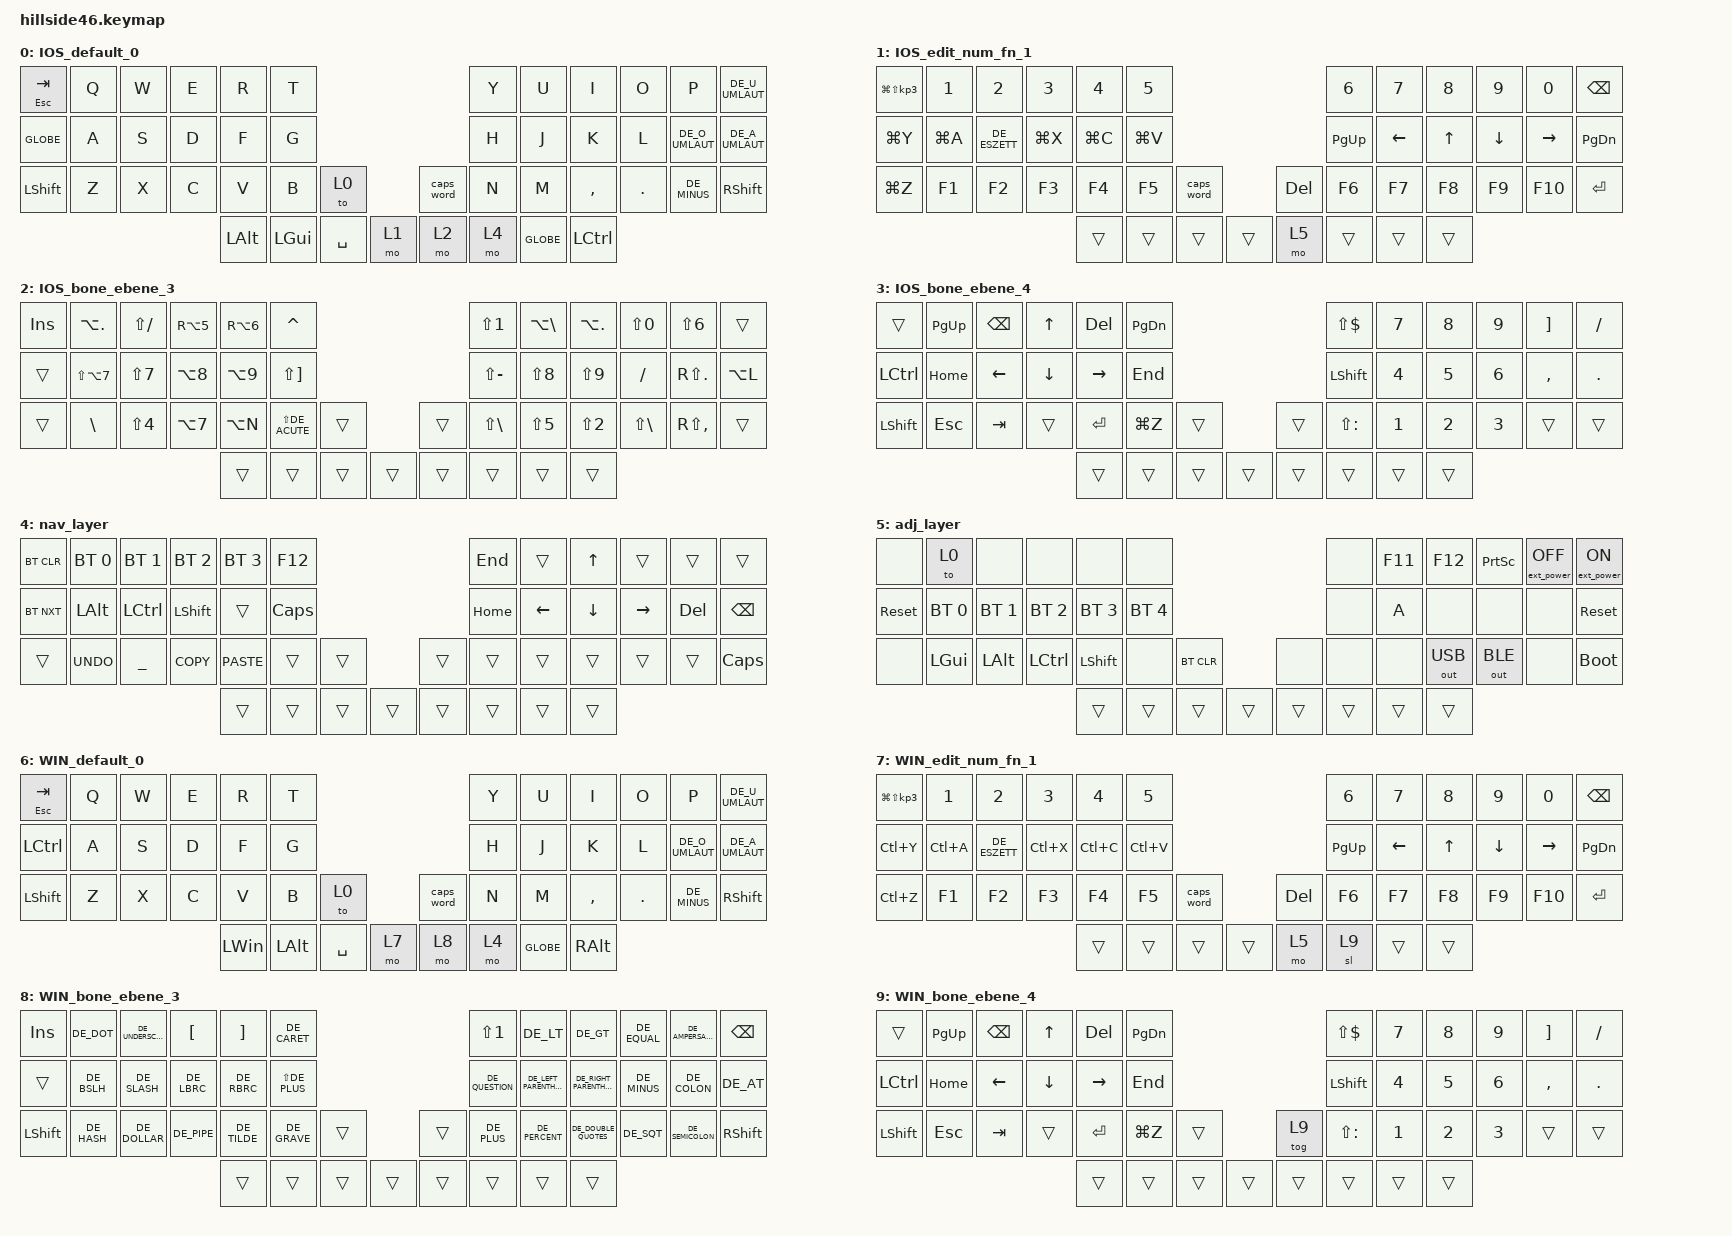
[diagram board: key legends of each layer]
/*
 * Copyright (c) 2021-2022 The ZMK Contributors
 *
 * SPDX-License-Identifier: MIT
 */

#include <behaviors.dtsi>
#include <dt-bindings/zmk/bt.h>
#include <dt-bindings/zmk/ext_power.h>
#include <dt-bindings/zmk/keys.h>
#include <dt-bindings/zmk/outputs.h>
#include "keys_de.h"

// layer shortcuts, must match order in which they are defined below

#define QWERTY_L 0
#define NAV_L    1
#define SYM_L    2
#define ADJ_L    3
#define HK 3
#define ADJ 4
#define Undo   LC(Z)
#define Redo   LC(Y)
#define Cut    LS(DEL)
#define Copy   LC(INS)
#define Paste  LS(INS)
#define XXX &none
#define ___ &trans

&mt { flavor = "balanced"; };

&sk { quick-release; };

&caps_word {
    // Allow caps word to continue even when minus, delete, left or underscore are pressed.

    continue-list = <UNDERSCORE MINUS BACKSPACE DELETE LEFT>;
};

/ {
    keymap {
        compatible = "zmk,keymap";

        IOS_default_0 {
            /* QWERTY
 * -------------------------------------------------------------------------------------------------------------------------------------
 * | `     |   Q   |   W   |   E   |   R   |   T   |-----------------------------------|   Y   |   U   |   I   |   O   |   P   | BKSPC |
 * | TAB   |   A   |   S   |   D   |   F   |   G   |-----------------------------------|   H   |   J   |   K   |   L   |   ;   | ENTER |
 * | CTRL  |   Z   |   X   |   C   |   V   |   B   |  ESC  |-------------------|  CAPS |   N   |   M   |   ,   |   .   |   /   |   '   |
 *                                 |  GUI  |  ALT  |SK SHFT|  Nav  |---|  Sym  | SPACE |  ALT  |  GUI  |
 */

            bindings = <
&mt ESC TAB  &kp Q  &kp W  &kp E  &kp R         &kp T                                                &kp Y      &kp U      &kp I      &kp O    &kp P            &kp DE_U_UMLAUT
&kp GLOBE    &kp A  &kp S  &kp D  &kp F         &kp G                                                &kp H      &kp J      &kp K      &kp L    &kp DE_O_UMLAUT  &kp DE_A_UMLAUT
&kp LSHFT    &kp Z  &kp X  &kp C  &kp V         &kp B         &to 0                      &caps_word  &kp N      &kp M      &kp COMMA  &kp DOT  &kp DE_MINUS     &kp RIGHT_SHIFT
                                  &kp LEFT_ALT  &kp LEFT_GUI  &kp SPACE  &mo 1    &mo 2  &mo 4       &kp GLOBE  &kp LCTRL
            >;
        };

        IOS_edit_num_fn_1 {
            bindings = <
&kp LG(LS(KP_NUMBER_3))  &kp N1     &kp N2         &kp N3     &kp N4     &kp N5                                              &kp N6       &kp N7          &kp N8        &kp N9    &kp N0           &kp BSPC
&kp LG(Y)                &kp LG(A)  &kp DE_ESZETT  &kp LG(X)  &kp LG(C)  &kp LG(V)                                           &kp PAGE_UP  &kp LEFT_ARROW  &kp UP_ARROW  &kp DOWN  &kp RIGHT_ARROW  &kp PAGE_DOWN
&kp LG(Z)                &kp F1     &kp F2         &kp F3     &kp F4     &kp F5     &caps_word                   &kp DELETE  &kp F6       &kp F7          &kp F8        &kp F9    &kp F10          &kp RET
                                                              &trans     &trans     &trans      &trans    &mo 5  &trans      &trans       &trans
            >;
        };

        IOS_bone_ebene_3 {
            /* SYM
 * -------------------------------------------------------------------------------------------------------------------------------------
 * | INS   |   !   |   @   |   #   |   $   |   %   |-----------------------------------|   ^   |   &   |   *   |   (   |   )   | BSPC  |
 * |       |   \   |   -   |   =   |   [   |   ]   |-----------------------------------| HOME  | Shift | Ctrl  | Alt   | Gui   | END   |
 * | Ctrl  |   |   |   _   |   +   |   {   |   }   |SkAltGr|-------------------| MENU  | Mute  | Vol-  | Vol+  | Play  |       | Ctrl  |
 *                                 |       |       |       |  ADJ_L |---|      |       |       |       |
 */

            bindings = <
&kp INS  &kp LA(DOT)     &kp LS(SLASH)     &kp RA(N5)  &kp RA(NUMBER_6)  &kp CARET                                                &kp LS(NUMBER_1)   &kp LA(BACKSLASH)  &kp LA(DOT)       &kp LS(N0)         &kp LS(NUMBER_6)  &trans
&trans   &kp LS(LA(N7))  &kp LS(N7)        &kp LA(N8)  &kp LA(N9)        &kp LS(RIGHT_BRACKET)                                    &kp LS(MINUS)      &kp LS(N8)         &kp LS(N9)        &kp SLASH          &kp RS(PERIOD)    &kp LA(L)
&trans   &kp BSLH        &kp LS(NUMBER_4)  &kp LA(N7)  &kp LA(N)         &kp LS(DE_ACUTE)       &trans                    &trans  &kp LS(BACKSLASH)  &kp LS(N5)         &kp LS(NUMBER_2)  &kp LS(BACKSLASH)  &kp RS(COMMA)     &trans
                                                       &trans            &trans                 &trans  &trans    &trans  &trans  &trans             &trans
            >;
        };

        IOS_bone_ebene_4 {
            bindings = <
&trans          &kp PG_UP  &kp BSPC  &kp UP_ARROW  &kp DEL    &kp PG_DN                                    &kp LS(DLLR)   &kp N7  &kp N8  &kp N9  &kp RIGHT_BRACKET  &kp SLASH
&kp LCTRL       &kp HOME   &kp LEFT  &kp DOWN      &kp RIGHT  &kp END                                      &kp LSHFT      &kp N4  &kp N5  &kp N6  &kp COMMA          &kp DOT
&kp LEFT_SHIFT  &kp ESC    &kp TAB   &trans        &kp RET    &kp LG(Z)  &trans                    &trans  &kp LS(COLON)  &kp N1  &kp N2  &kp N3  &trans             &trans
                                                   &trans     &trans     &trans  &trans    &trans  &trans  &trans         &trans
            >;
        };

        nav_layer {
            /* NAV   
 * -------------------------------------------------------------------------------------------------------------------------------------
 * | Copy  |   1   |   2   |   3   |   4   |   5   |-----------------------------------|   6   |   7   |   8   |   9   |   0   | BSPC  |
 * | Cut   |  GUI  |  Alt  | Ctrl  | Shift | Paste |-----------------------------------| PG UP |  Left |  Up   |  Down | Right | PG DN |
 * | Ctrl  |  F1   |  F2   |  F3   |  F4   |  F5   |  UnDo |-------------------| ReDo  |  F6   |  F7   |  F8   |  F9   |  F10  | Ctrl  |
 *                                 |       |       |       |       |---| ADJ_L |       |       |       |
 */

            bindings = <
&bt BT_CLR  &bt BT_SEL 0  &bt BT_SEL 1  &bt BT_SEL 2  &bt BT_SEL 3  &kp F12                                     &kp END   &trans    &kp UP    &trans     &trans   &trans
&bt BT_NXT  &kp LALT      &kp LCTRL     &kp LSHFT     &trans        &kp CLCK                                    &kp HOME  &kp LEFT  &kp DOWN  &kp RIGHT  &kp DEL  &kp BSPC
&trans      &kp K_UNDO    &kp UNDER     &kp K_COPY    &kp K_PASTE   &trans    &trans                    &trans  &trans    &trans    &trans    &trans     &trans   &kp CLCK
                                                      &trans        &trans    &trans  &trans    &trans  &trans  &trans    &trans
            >;
        };

        adj_layer {
            /* ADJUST
 * -------------------------------------------------------------------------------------------------------------------------------------
 * |       | QWERTY| DVORAK| COLEMK|       |       |-----------------------------------|       |  F11  |  F12  |Prt Scr|EP_OFF | EP_ON |
 * | RESET | BT 0  | BT 1  | BT 2  | BT 3  | BT 4  |-----------------------------------|       |       |       |       |       | RESET |
 * |       | LGUI  | LALT  | LCTRL | LSHIFT|       |BT CLR |-------------------|       |       |       |OUT_USB|OUT_BLE|       | BOOTL |
 *                                 |       |       |       |       |---|       |       |       |       |
 */

            bindings = <
&none       &to 0         &none         &none         &none         &none                                               &none   &kp F11  &kp F12       &kp PRINTSCREEN  &ext_power EP_OFF  &ext_power EP_ON
&sys_reset  &bt BT_SEL 0  &bt BT_SEL 1  &bt BT_SEL 2  &bt BT_SEL 3  &bt BT_SEL 4                                        &none   &kp A    &none         &none            &none              &sys_reset
&none       &kp LGUI      &kp LALT      &kp LCTRL     &kp LSHIFT    &none         &bt BT_CLR                    &none   &none   &none    &out OUT_USB  &out OUT_BLE     &none              &bootloader
                                                      &trans        &trans        &trans      &trans    &trans  &trans  &trans  &trans
            >;
        };

        WIN_default_0 {
            bindings = <
&mt ESC TAB       &kp Q  &kp W  &kp E  &kp R         &kp T                                                &kp Y      &kp U          &kp I      &kp O    &kp P            &kp DE_U_UMLAUT
&kp LEFT_CONTROL  &kp A  &kp S  &kp D  &kp F         &kp G                                                &kp H      &kp J          &kp K      &kp L    &kp DE_O_UMLAUT  &kp DE_A_UMLAUT
&kp LSHFT         &kp Z  &kp X  &kp C  &kp V         &kp B         &to 0                      &caps_word  &kp N      &kp M          &kp COMMA  &kp DOT  &kp DE_MINUS     &kp RIGHT_SHIFT
                                       &kp LEFT_WIN  &kp LEFT_ALT  &kp SPACE  &mo 7    &mo 8  &mo 4       &kp GLOBE  &kp RIGHT_ALT
            >;
        };

        WIN_edit_num_fn_1 {
            bindings = <
&kp LG(LS(KP_NUMBER_3))  &kp N1     &kp N2         &kp N3     &kp N4     &kp N5                                              &kp N6       &kp N7          &kp N8        &kp N9    &kp N0           &kp BSPC
&kp LC(Y)                &kp LC(A)  &kp DE_ESZETT  &kp LC(X)  &kp LC(C)  &kp LC(V)                                           &kp PAGE_UP  &kp LEFT_ARROW  &kp UP_ARROW  &kp DOWN  &kp RIGHT_ARROW  &kp PAGE_DOWN
&kp LC(Z)                &kp F1     &kp F2         &kp F3     &kp F4     &kp F5     &caps_word                   &kp DELETE  &kp F6       &kp F7          &kp F8        &kp F9    &kp F10          &kp RET
                                                              &trans     &trans     &trans      &trans    &mo 5  &sl 9       &trans       &trans
            >;
        };

        WIN_bone_ebene_3 {
            bindings = <
&kp INS    &kp DE_DOT   &kp DE_UNDERSCORE  &kp LBKT     &kp RBKT      &kp DE_CARET                                       &kp LS(NUMBER_1)  &kp DE_LT                &kp DE_GT                 &kp DE_EQUAL  &kp DE_AMPERSAND  &kp BACKSPACE
&trans     &kp DE_BSLH  &kp DE_SLASH       &kp DE_LBRC  &kp DE_RBRC   &kp LS(DE_PLUS)                                    &kp DE_QUESTION   &kp DE_LEFT_PARENTHESIS  &kp DE_RIGHT_PARENTHESIS  &kp DE_MINUS  &kp DE_COLON      &kp DE_AT
&kp LSHFT  &kp DE_HASH  &kp DE_DOLLAR      &kp DE_PIPE  &kp DE_TILDE  &kp DE_GRAVE     &trans                    &trans  &kp DE_PLUS       &kp DE_PERCENT           &kp DE_DOUBLE_QUOTES      &kp DE_SQT    &kp DE_SEMICOLON  &kp RSHFT
                                                        &trans        &trans           &trans  &trans    &trans  &trans  &trans            &trans
            >;
        };

        WIN_bone_ebene_4 {
            bindings = <
&trans          &kp PG_UP  &kp BSPC  &kp UP_ARROW  &kp DEL    &kp PG_DN                                    &kp LS(DLLR)   &kp N7  &kp N8  &kp N9  &kp RIGHT_BRACKET  &kp SLASH
&kp LCTRL       &kp HOME   &kp LEFT  &kp DOWN      &kp RIGHT  &kp END                                      &kp LSHFT      &kp N4  &kp N5  &kp N6  &kp COMMA          &kp DOT
&kp LEFT_SHIFT  &kp ESC    &kp TAB   &trans        &kp RET    &kp LG(Z)  &trans                    &tog 9  &kp LS(COLON)  &kp N1  &kp N2  &kp N3  &trans             &trans
                                                   &trans     &trans     &trans  &trans    &trans  &trans  &trans         &trans
            >;
        };
    };
};
